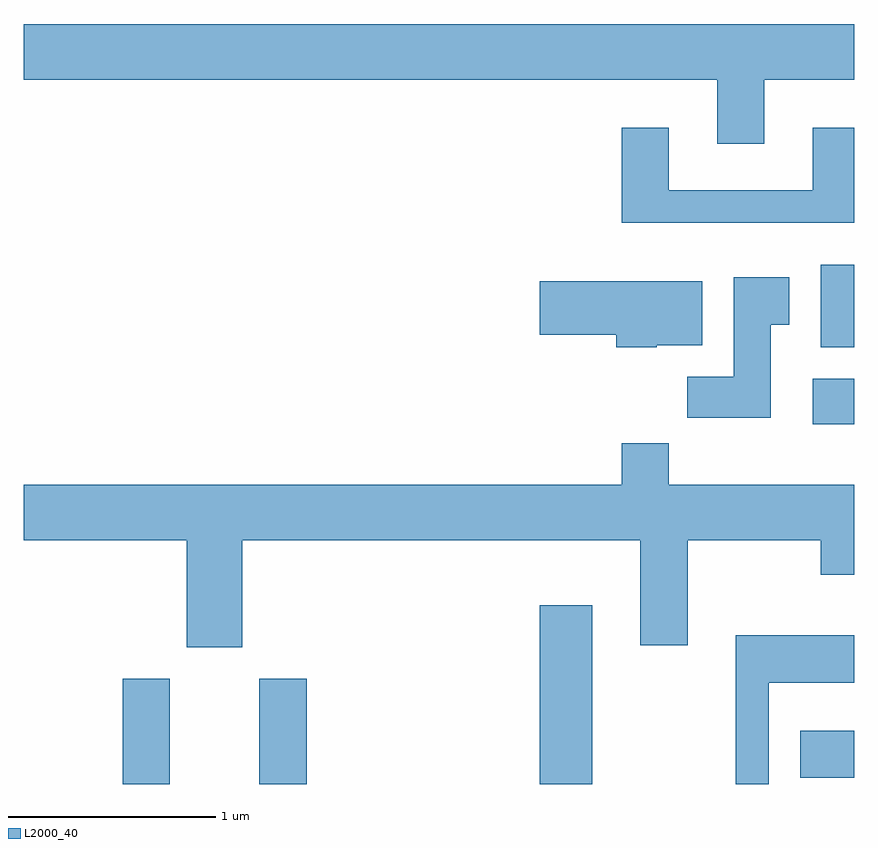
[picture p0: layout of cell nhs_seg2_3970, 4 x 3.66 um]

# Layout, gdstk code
import gdstk
lib = gdstk.Library(unit=1e-6, precision=1e-09)
def R(c, l, rs):  # rectangles x0, y0, x1, y1
    for r in rs: c.add(gdstk.rectangle(r[:2], r[2:], *l))
def P(c, l, *ps):  # polygons
    for p in ps: c.add(gdstk.Polygon(p, *l))
L2000_40 = (2000, 40)

nhs_seg2_3970 = lib.new_cell('nhs_seg2_3970')
R(nhs_seg2_3970, L2000_40, [(302.086,1053.802,302.314,1054.309), (302.746,1053.802,302.974,1054.309), (304.096,1053.802,304.349,1054.664), (305.351,1053.831,305.611,1054.059), (305.411,1055.536,305.611,1055.754), (305.451,1055.906,305.611,1056.304)])
P(nhs_seg2_3970, L2000_40, [(305.179,1057.196),(305.611,1057.196),(305.611,1057.464),(301.611,1057.464),(301.611,1057.196),(304.951,1057.196),(304.951,1056.886),(305.179,1056.886)],
  [(305.611,1056.964),(305.411,1056.964),(305.411,1056.664),(304.719,1056.664),(304.719,1056.964),(304.491,1056.964),(304.491,1056.506),(305.611,1056.506)],
  [(305.209,1056.016),(305.299,1056.016),(305.299,1056.244),(305.031,1056.244),(305.031,1055.764),(304.806,1055.764),(304.806,1055.566),(305.209,1055.566)],
  [(304.66,1055.916),(304.879,1055.916),(304.879,1056.224),(304.096,1056.224),(304.096,1055.966),(304.466,1055.966),(304.466,1055.906),(304.66,1055.906)],
  [(302.664,1054.976),(304.581,1054.976),(304.581,1054.471),(304.809,1054.471),(304.809,1054.976),(305.451,1054.976),(305.451,1054.811),(305.611,1054.811),(305.611,1055.244),(304.719,1055.244),(304.719,1055.444),(304.491,1055.444),(304.491,1055.244),(301.611,1055.244),(301.611,1054.976),(302.396,1054.976),(302.396,1054.461),(302.664,1054.461)],
  [(305.199,1054.291),(305.611,1054.291),(305.611,1054.519),(305.041,1054.519),(305.041,1053.802),(305.199,1053.802)])

lib.write_gds('nhs_seg2_3970.gds')
